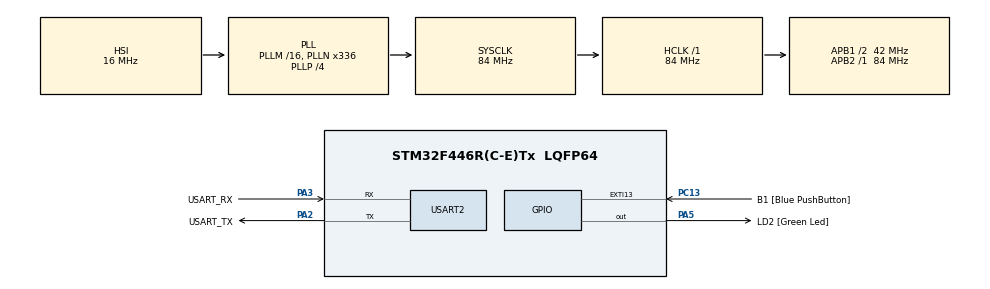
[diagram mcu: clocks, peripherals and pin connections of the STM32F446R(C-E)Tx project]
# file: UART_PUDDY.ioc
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Mcu.Family=STM32F4
Mcu.Name=STM32F446R(C-E)Tx
Mcu.Package=LQFP64
NVIC.PriorityGroup=NVIC_PRIORITYGROUP_0
NVIC.USART2_IRQn=true\:0\:0\:false\:false\:true\:true\:true\:true
PA13.GPIO_Label=TMS
PA13.Mode=Serial_Wire
PA13.Signal=SYS_JTMS-SWDIO
PA14.GPIO_Label=TCK
PA14.Mode=Serial_Wire
PA14.Signal=SYS_JTCK-SWCLK
PA2.GPIO_Label=USART_TX
PA2.Mode=Asynchronous
PA2.Signal=USART2_TX
PA3.GPIO_Label=USART_RX
PA3.Mode=Asynchronous
PA3.Signal=USART2_RX
PA5.GPIO_Label=LD2 [Green Led]
PA5.Signal=GPIO_Output
PB3.GPIO_Label=SWO
PB3.Signal=SYS_JTDO-SWO
PC13.GPIO_Label=B1 [Blue PushButton]
PC13.GPIO_ModeDefaultEXTI=GPIO_MODE_IT_FALLING
PC13.Signal=GPXTI13
PC14-OSC32_IN.Mode=LSE-External-Oscillator
PC14-OSC32_IN.Signal=RCC_OSC32_IN
PC15-OSC32_OUT.Mode=LSE-External-Oscillator
PC15-OSC32_OUT.Signal=RCC_OSC32_OUT
PH0-OSC_IN.Mode=HSE-External-Oscillator
PH0-OSC_IN.Signal=RCC_OSC_IN
PH1-OSC_OUT.Mode=HSE-External-Oscillator
PH1-OSC_OUT.Signal=RCC_OSC_OUT
ProjectManager.HeapSize=0x200
ProjectManager.StackSize=0x400
ProjectManager.TargetToolchain=STM32CubeIDE
RCC.48MHZClocksFreq_Value=84000000
RCC.AHBFreq_Value=84000000
RCC.APB1CLKDivider=RCC_HCLK_DIV2
RCC.APB1Freq_Value=42000000
RCC.APB1TimFreq_Value=84000000
RCC.APB2Freq_Value=84000000
RCC.APB2TimFreq_Value=84000000
RCC.CortexFreq_Value=84000000
RCC.FLatency-AdvancedSettings=FLASH_LATENCY_2
RCC.HCLKFreq_Value=84000000
RCC.HSE_VALUE=8000000
RCC.HSI_VALUE=16000000
RCC.PLLN=336
RCC.PLLP=RCC_PLLP_DIV4
RCC.SYSCLKFreq_VALUE=84000000
RCC.SYSCLKSource=RCC_SYSCLKSOURCE_PLLCLK
RCC.USBFreq_Value=168000000
RCC.VCOOutputFreq_Value=336000000
USART2.VirtualMode=VM_ASYNC
board=NUCLEO-F446RE

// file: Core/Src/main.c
/* USER CODE BEGIN Header */
/**
  ******************************************************************************
  * @file           : main.c
  * @brief          : Main program body
  ******************************************************************************
  * @attention
  *
  * Copyright (c) 2025 STMicroelectronics.
  * All rights reserved.
  *
  * This software is licensed under terms that can be found in the LICENSE file
  * in the root directory of this software component.
  * If no LICENSE file comes with this software, it is provided AS-IS.
  *
  ******************************************************************************
  */
/* USER CODE END Header */
#include "main.h"
#include "string.h"
#include "stm32f4xx_hal.h"

UART_HandleTypeDef huart2;

/* USER CODE BEGIN PV */
uint8_t tx_buffer[27] = "Welcome_to_domain_expansion";
uint8_t rx_indx;
uint8_t rx_data[2];
uint8_t rx_buffer[100];
uint8_t transfer_cplit;

/* USER CODE END PV */

void SystemClock_Config(void);
static void MX_GPIO_Init(void);
static void MX_USART2_UART_Init(void);

int main(void)
{

  /* MCU Configuration--------------------------------------------------------*/

  /* Reset of all peripherals, Initializes the Flash interface and the Systick. */
  HAL_Init();

  /* Configure the system clock */
  SystemClock_Config();

  /* Initialize all configured peripherals */
  MX_GPIO_Init();
  MX_USART2_UART_Init();
  /* USER CODE BEGIN 2 */
  HAL_UART_Receive_IT(&huart2, rx_data, 1);
  /* USER CODE END 2 */

  /* Infinite loop */
  /* USER CODE BEGIN WHILE */
  while (1)
  {
	 // HAL_GPIO_TogglePin(GPIOA, GPIO_PIN_5);
	  //HAL_Delay(1000);
    /* USER CODE END WHILE */

    /* USER CODE BEGIN 3 */
//	  HAL_UART_Transmit(&huart2, tx_buffer, 27, 10);
//	  HAL_Delay(1000);
  }
  /* USER CODE END 3 */
}

void SystemClock_Config(void)
{
  RCC_OscInitTypeDef RCC_OscInitStruct = {0};
  RCC_ClkInitTypeDef RCC_ClkInitStruct = {0};

  /** Configure the main internal regulator output voltage
  */
  __HAL_RCC_PWR_CLK_ENABLE();
  __HAL_PWR_VOLTAGESCALING_CONFIG(PWR_REGULATOR_VOLTAGE_SCALE3);

  /** Initializes the RCC Oscillators according to the specified parameters
  * in the RCC_OscInitTypeDef structure.
  */
  RCC_OscInitStruct.OscillatorType = RCC_OSCILLATORTYPE_HSI;
  RCC_OscInitStruct.HSIState = RCC_HSI_ON;
  RCC_OscInitStruct.HSICalibrationValue = RCC_HSICALIBRATION_DEFAULT;
  RCC_OscInitStruct.PLL.PLLState = RCC_PLL_ON;
  RCC_OscInitStruct.PLL.PLLSource = RCC_PLLSOURCE_HSI;
  RCC_OscInitStruct.PLL.PLLM = 16;
  RCC_OscInitStruct.PLL.PLLN = 336;
  RCC_OscInitStruct.PLL.PLLP = RCC_PLLP_DIV4;
  RCC_OscInitStruct.PLL.PLLQ = 2;
  RCC_OscInitStruct.PLL.PLLR = 2;
  if (HAL_RCC_OscConfig(&RCC_OscInitStruct) != HAL_OK)
  {
    Error_Handler();
  }

  /** Initializes the CPU, AHB and APB buses clocks
  */
  RCC_ClkInitStruct.ClockType = RCC_CLOCKTYPE_HCLK|RCC_CLOCKTYPE_SYSCLK
                              |RCC_CLOCKTYPE_PCLK1|RCC_CLOCKTYPE_PCLK2;
  RCC_ClkInitStruct.SYSCLKSource = RCC_SYSCLKSOURCE_PLLCLK;
  RCC_ClkInitStruct.AHBCLKDivider = RCC_SYSCLK_DIV1;
  RCC_ClkInitStruct.APB1CLKDivider = RCC_HCLK_DIV2;
  RCC_ClkInitStruct.APB2CLKDivider = RCC_HCLK_DIV1;

  if (HAL_RCC_ClockConfig(&RCC_ClkInitStruct, FLASH_LATENCY_2) != HAL_OK)
  {
    Error_Handler();
  }
}

static void MX_USART2_UART_Init(void)
{

  huart2.Instance = USART2;
  huart2.Init.BaudRate = 115200;
  huart2.Init.WordLength = UART_WORDLENGTH_8B;
  huart2.Init.StopBits = UART_STOPBITS_1;
  huart2.Init.Parity = UART_PARITY_NONE;
  huart2.Init.Mode = UART_MODE_TX_RX;
  huart2.Init.HwFlowCtl = UART_HWCONTROL_NONE;
  huart2.Init.OverSampling = UART_OVERSAMPLING_16;
  if (HAL_UART_Init(&huart2) != HAL_OK)
  {
    Error_Handler();
  }

}

static void MX_GPIO_Init(void)
{
  GPIO_InitTypeDef GPIO_InitStruct = {0};

  /* GPIO Ports Clock Enable */
  __HAL_RCC_GPIOC_CLK_ENABLE();
  __HAL_RCC_GPIOH_CLK_ENABLE();
  __HAL_RCC_GPIOA_CLK_ENABLE();
  __HAL_RCC_GPIOB_CLK_ENABLE();

  /*Configure GPIO pin Output Level */
  HAL_GPIO_WritePin(LD2_GPIO_Port, LD2_Pin, GPIO_PIN_RESET);

  /*Configure GPIO pin : B1_Pin */
  GPIO_InitStruct.Pin = B1_Pin;
  GPIO_InitStruct.Mode = GPIO_MODE_IT_FALLING;
  GPIO_InitStruct.Pull = GPIO_NOPULL;
  HAL_GPIO_Init(B1_GPIO_Port, &GPIO_InitStruct);

  /*Configure GPIO pin : LD2_Pin */
  GPIO_InitStruct.Pin = LD2_Pin;
  GPIO_InitStruct.Mode = GPIO_MODE_OUTPUT_PP;
  GPIO_InitStruct.Pull = GPIO_NOPULL;
  GPIO_InitStruct.Speed = GPIO_SPEED_FREQ_LOW;
  HAL_GPIO_Init(LD2_GPIO_Port, &GPIO_InitStruct);

}

/* USER CODE BEGIN 4 */
void HAL_UART_RxCpltCallback(UART_HandleTypeDef *huart)
{
  /* Prevent unused argument(s) compilation warning */
  //UNUSED(huart);
  /* NOTE: This function should not be modified, when the callback is needed,
           the HAL_UART_RxCpltCallback could be implemented in the user file
   */
  //HAL_UART_Transmit(&huart2, rx_data, 6, 10);
  uint8_t i;
  	  if(huart ->Instance == USART2)
  	  {
  		  for(i = 0; i<100; i++){
  		  rx_buffer[i] = 0;
  	  	  HAL_GPIO_WritePin(GPIOA, GPIO_PIN_5, GPIO_PIN_RESET);

  		  }
  	  if(rx_data[0] != 13){
  		  rx_buffer[rx_indx++] = rx_data[0];
  	  }else{
  		  rx_indx = 0;
  		  transfer_cplit = 1;
  		  HAL_UART_Transmit(&huart2, '\n\r', 2, 100);
  		  if(~(strcmp(rx_buffer, "LED_ON")))
  		  {
  			  HAL_GPIO_WritePin(GPIOA, GPIO_PIN_5, GPIO_PIN_SET);

  		  }

  	  }

  	HAL_UART_Receive_IT(&huart2, rx_data, 1);
  	HAL_UART_Transmit(&huart2, rx_data, strlen(rx_data), 100);
  	  }

}
/* USER CODE END 4 */

void Error_Handler(void)
{
  __disable_irq();
  while (1)
  {
  }
}
